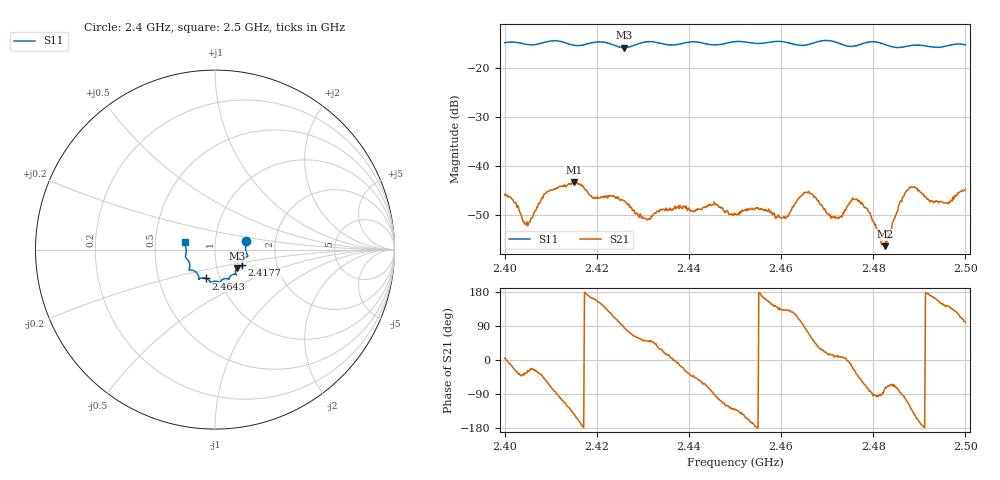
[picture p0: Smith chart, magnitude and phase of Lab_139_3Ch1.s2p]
# Hz S RI R 50
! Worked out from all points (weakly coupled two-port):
!   601 points, 2.4 GHz to 2.5 GHz, reference 50 ohm
!   highest |S21| = -43.29 dB at 2.415 GHz (marker M1); lowest = -56.3 dB at 2.4825 GHz (marker M2)
!   lowest |S11| = -16.0 dB at 2.426 GHz (marker M3), VSWR 1.38, Z = 62.2 - j13.2 ohm
!   |S11| at or under -10 dB: start of sweep to end of sweep
!   S12 and S22 are empty: the file has one direction only
!   S11 on the Smith chart (normalised r, x): 2.4 GHz: 1.41, +0.14; 2.4177 GHz: 1.33, -0.23; 2.4643 GHz: 0.86, -0.29; 2.5 GHz: 0.71, +0.06
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2.4e9  0.1728 0.0478  0.00506 0.000427  0 0  0 0
2.404833e9  0.1712 0.0176  0.00225 -0.0015  0 0  0 0
2.409e9  0.1804 -0.0295  0.00306 -0.00434  0 0  0 0
2.415e9  0.1596 -0.0543  -0.00539 -0.00422  0 0  0 0
2.416667e9  0.1518 -0.0732  -0.00641 -0.00102  0 0  0 0
2.417667e9  0.1506 -0.0846  -0.00566 0.000425  0 0  0 0
2.426e9  0.1209 -0.1037  0.000432 0.0044  0 0  0 0
2.430667e9  0.118 -0.1397  0.00187 0.00223  0 0  0 0
2.433333e9  0.1141 -0.1378  0.00292 0.00188  0 0  0 0
2.445667e9  0.051 -0.1624  -0.00019 -0.00412  0 0  0 0
2.45e9  0.0278 -0.182  -0.00207 -0.00248  0 0  0 0
2.454833e9  0.00411 -0.1759  -0.0037 -1.69e-05  0 0  0 0
2.460667e9  -0.027 -0.1808  -0.00205 0.00231  0 0  0 0
2.464333e9  -0.0491 -0.161  -0.000896 0.00489  0 0  0 0
2.466667e9  -0.0761 -0.1582  0.00283 0.00438  0 0  0 0
2.472e9  -0.0892 -0.1572  0.00292 0.000489  0 0  0 0
2.4765e9  -0.1214 -0.1158  0.0036 -0.0029  0 0  0 0
2.4825e9  -0.1408 -0.099  0.000357 -0.00149  0 0  0 0
2.483333e9  -0.1402 -0.0906  0.000691 -0.00178  0 0  0 0
2.487833e9  -0.1596 -0.0491  -0.00292 -0.0053  0 0  0 0
2.495833e9  -0.1645 0.0193  -0.00339 0.00245  0 0  0 0
2.5e9  -0.1647 0.0437  -0.00093 0.00574  0 0  0 0
